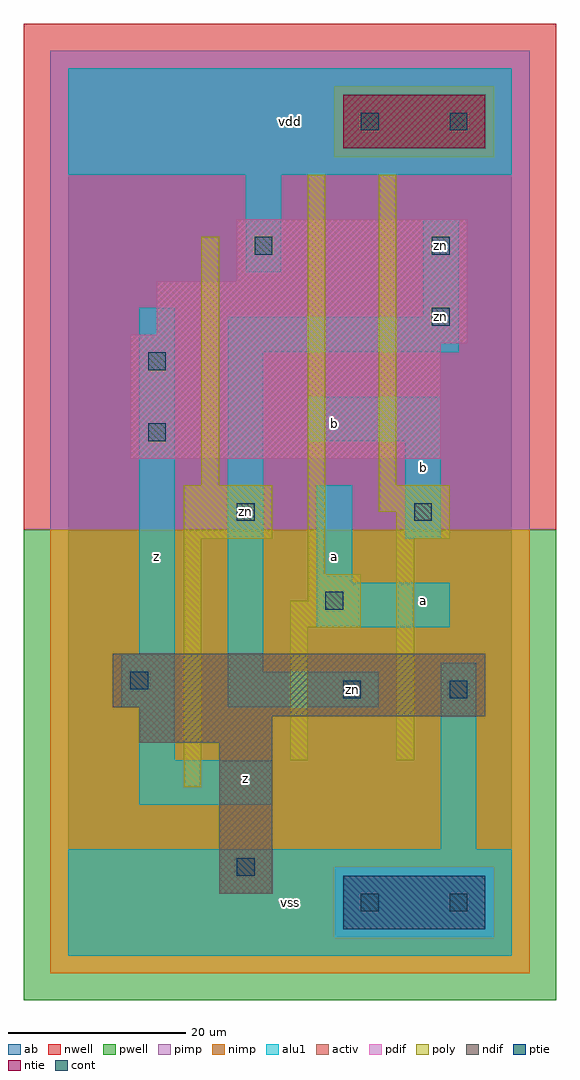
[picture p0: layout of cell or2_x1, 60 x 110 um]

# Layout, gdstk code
import gdstk
lib = gdstk.Library(unit=1e-6, precision=1e-09)
def R(c, l, rs):  # rectangles x0, y0, x1, y1
    for r in rs: c.add(gdstk.rectangle(r[:2], r[2:], *l))
ndif = (3, 0)
pdif = (4, 0)
ntie = (5, 0)
ptie = (6, 0)
cont = (25, 0)
pwell = (41, 0)
nwell = (42, 0)
activ = (43, 0)
pimp = (44, 0)
nimp = (45, 0)
poly = (46, 0)
alu1 = (49, 0)
ab = (63, 0)

or2_x1 = lib.new_cell('or2_x1')
R(or2_x1, ndif, [(17,7,23,24), (8,24,23,27), (8,27,47,28), (5,28,47,34)])
R(or2_x1, pdif, [(7,56,42,69), (7,69,45,70), (10,70,45,76), (19,76,45,83)])
R(or2_x1, ntie, [(31,91,47,97)])
R(or2_x1, ptie, [(31,3,47,9)])
R(or2_x1, cont, [(33,5,35,7), (43,5,45,7), (19,9,21,11), (31,29,33,31), (43,29,45,31), (7,30,9,32), (29,39,31,41), (19,49,21,51), (39,49,41,51), (9,58,11,60), (9,66,11,68), (41,71,43,73), (21,79,23,81), (41,79,43,81), (33,93,35,95), (43,93,45,95)])
R(or2_x1, pwell, [(-5,-5,55,48)])
R(or2_x1, nwell, [(-5,48,55,105)])
R(or2_x1, activ, [(31,3,47,9), (17,7,23,24), (8,24,23,27), (8,27,47,28), (5,28,47,34), (7,56,42,69), (7,69,45,70), (10,70,45,76), (19,76,45,83), (31,91,47,97)])
R(or2_x1, pimp, [(30,2,48,10), (-2,48,52,90), (-2,90,30,98), (48,90,52,98), (-2,98,52,102)])
R(or2_x1, nimp, [(-2,-2,52,2), (-2,2,30,10), (48,2,52,10), (-2,10,52,48), (30,90,48,98)])
R(or2_x1, poly, [(13,19,15,47), (25,22,27,37), (37,22,39,47), (25,37,33,40), (27,40,33,43), (27,43,29,88), (13,47,23,53), (37,47,43,50), (35,50,43,53), (15,53,17,81), (35,53,37,88)])
R(or2_x1, alu1, [(0,0,50,12), (42,12,46,33), (8,17,23,22), (8,22,12,28), (6,28,12,34), (18,28,35,32), (18,32,22,68), (8,34,12,73), (28,37,43,42), (28,42,32,53), (38,47,42,58), (27,58,42,63), (18,68,44,72), (40,72,44,83), (20,77,24,88), (0,88,50,100)])
R(or2_x1, ab, [(0,0,50,100)])
or2_x1.add(gdstk.Label('zn', (20,50), layer=49, texttype=0))
or2_x1.add(gdstk.Label('zn', (32,30), layer=49, texttype=0))
or2_x1.add(gdstk.Label('zn', (42,80), layer=49, texttype=0))
or2_x1.add(gdstk.Label('zn', (42,72), layer=49, texttype=0))
or2_x1.add(gdstk.Label('z', (20,20), layer=49, texttype=0))
or2_x1.add(gdstk.Label('z', (10,45), layer=49, texttype=0))
or2_x1.add(gdstk.Label('vss', (25,6), layer=49, texttype=0))
or2_x1.add(gdstk.Label('a', (30,45), layer=49, texttype=0))
or2_x1.add(gdstk.Label('b', (30,60), layer=49, texttype=0))
or2_x1.add(gdstk.Label('vdd', (25,94), layer=49, texttype=0))
or2_x1.add(gdstk.Label('a', (40,40), layer=49, texttype=0))
or2_x1.add(gdstk.Label('b', (40,55), layer=49, texttype=0))

lib.write_gds('or2_x1.gds')
